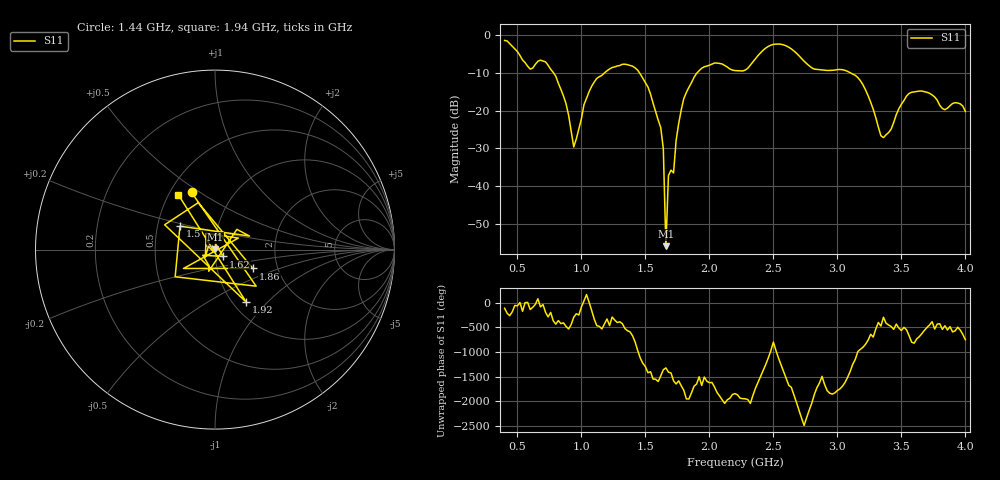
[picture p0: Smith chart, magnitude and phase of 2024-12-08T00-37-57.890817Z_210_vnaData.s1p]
!Created with skrf (http://scikit-rf.org).
# Hz S RI R 50.0
!freq ReS11 ImS11
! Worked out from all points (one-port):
!   181 points, 400 MHz to 4 GHz, reference 50 ohm
!   lowest |S11| = -55.9 dB at 1.66 GHz (marker M1), VSWR 1.00, Z = 49.9 + j0.138 ohm
!   |S11| at or under -10 dB: 783.3 MHz to 1.179 GHz (395.9 MHz wide, 40.3 % of centre); 1.455 GHz to 1.903 GHz (447.8 MHz wide, 26.7 % of centre); 3.104 GHz to end of sweep
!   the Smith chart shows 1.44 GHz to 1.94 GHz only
!   S11 on the Smith chart (normalised r, x): 1.44 GHz: 0.64, +0.46; 1.5 GHz: 0.65, +0.18; 1.62 GHz: 1.09, -0.08; 1.86 GHz: 1.49, -0.33; 1.92 GHz: 1.15, -0.76; 1.94 GHz: 0.56, +0.39
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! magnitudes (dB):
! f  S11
! 400 MHz  -1.4
! 600 MHz  -9.0
! 720 MHz  -7.0
! 860 MHz  -16.1
! 940 MHz  -29.6
! 1.08 GHz  -13.5
! 1.3 GHz  -8.0
! 1.44 GHz  -9.3
! 1.5 GHz  -12.6
! 1.62 GHz  -24.5
! 1.64 GHz  -30.1
! 1.66 GHz  -55.9
! 1.68 GHz  -37.2
! 1.72 GHz  -36.5
! 1.76 GHz  -23.4
! 1.8 GHz  -16.8
! 1.86 GHz  -12.6
! 1.92 GHz  -9.4
! 1.94 GHz  -8.7
! 2.2 GHz  -9.3
! 2.48 GHz  -2.6
! 2.66 GHz  -4.1
! 2.82 GHz  -9.0
! 3.1 GHz  -9.9
! 3.2 GHz  -13.1
! 3.36 GHz  -27.1
! 3.56 GHz  -15.4
! 4 GHz  -20.2
